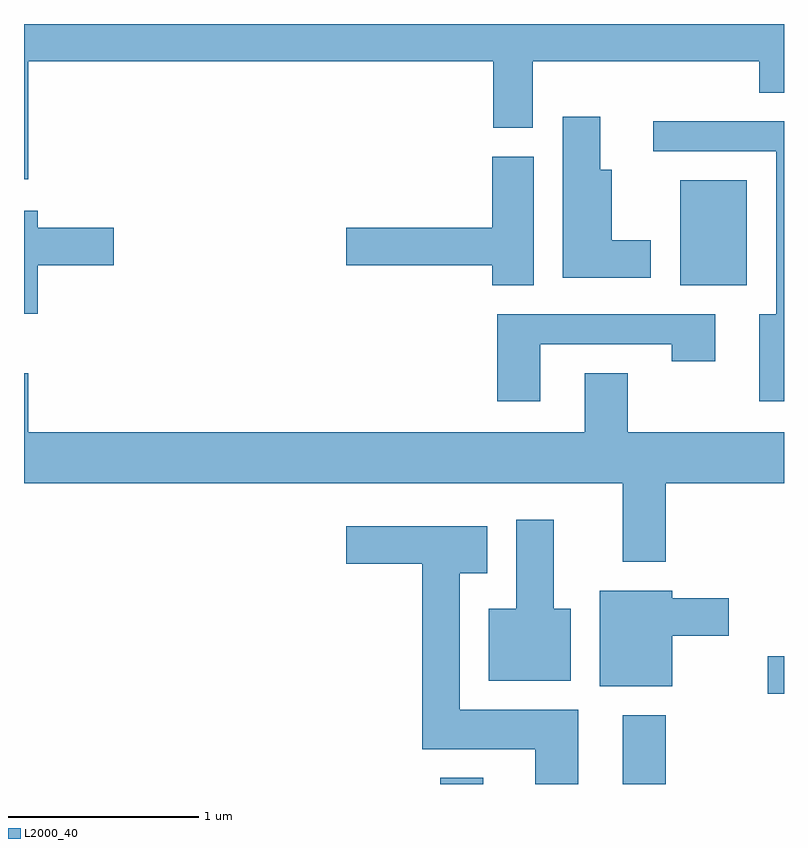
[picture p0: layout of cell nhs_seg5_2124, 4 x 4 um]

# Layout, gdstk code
import gdstk
lib = gdstk.Library(unit=1e-6, precision=1e-09)
def R(c, l, rs):  # rectangles x0, y0, x1, y1
    for r in rs: c.add(gdstk.rectangle(r[:2], r[2:], *l))
def P(c, l, *ps):  # polygons
    for p in ps: c.add(gdstk.Polygon(p, *l))
L2000_40 = (2000, 40)

nhs_seg5_2124 = lib.new_cell('nhs_seg5_2124')
R(nhs_seg5_2124, L2000_40, [(249.801,1484.072,250.029,1484.104), (250.761,1484.072,250.989,1484.434), (251.526,1484.546,251.611,1484.744), (251.066,1486.696,251.414,1487.249)])
P(nhs_seg5_2124, L2000_40, [(247.634,1487.876),(250.081,1487.876),(250.081,1487.526),(250.289,1487.526),(250.289,1487.876),(251.481,1487.876),(251.481,1487.711),(251.611,1487.711),(251.611,1488.072),(247.611,1488.072),(247.611,1487.256),(247.634,1487.256)],
  [(250.909,1486.934),(250.704,1486.934),(250.704,1487.304),(250.644,1487.304),(250.644,1487.584),(250.446,1487.584),(250.446,1486.736),(250.909,1486.736)],
  [(251.611,1487.559),(250.923,1487.559),(250.923,1487.401),(251.571,1487.401),(251.571,1486.544),(251.481,1486.544),(251.481,1486.086),(251.611,1486.086)],
  [(250.294,1487.374),(250.076,1487.374),(250.076,1486.999),(249.306,1486.999),(249.306,1486.801),(250.076,1486.801),(250.076,1486.696),(250.294,1486.696)],
  [(247.684,1486.801),(248.084,1486.801),(248.084,1486.999),(247.684,1486.999),(247.684,1487.089),(247.611,1487.089),(247.611,1486.546),(247.684,1486.546)],
  [(250.329,1486.386),(251.021,1486.386),(251.021,1486.296),(251.249,1486.296),(251.249,1486.544),(250.101,1486.544),(250.101,1486.086),(250.329,1486.086)],
  [(250.989,1485.656),(251.611,1485.656),(251.611,1485.924),(250.789,1485.924),(250.789,1486.234),(250.561,1486.234),(250.561,1485.924),(247.634,1485.924),(247.634,1486.234),(247.611,1486.234),(247.611,1485.656),(250.761,1485.656),(250.761,1485.241),(250.989,1485.241)],
  [(250.489,1484.994),(250.399,1484.994),(250.399,1485.464),(250.201,1485.464),(250.201,1484.994),(250.056,1484.994),(250.056,1484.616),(250.489,1484.616)],
  [(250.529,1484.464),(249.904,1484.464),(249.904,1485.181),(250.049,1485.181),(250.049,1485.429),(249.306,1485.429),(249.306,1485.231),(249.706,1485.231),(249.706,1484.256),(250.301,1484.256),(250.301,1484.072),(250.529,1484.072)],
  [(251.024,1484.851),(251.319,1484.851),(251.319,1485.049),(251.024,1485.049),(251.024,1485.089),(250.641,1485.089),(250.641,1484.586),(251.024,1484.586)])

lib.write_gds('nhs_seg5_2124.gds')
